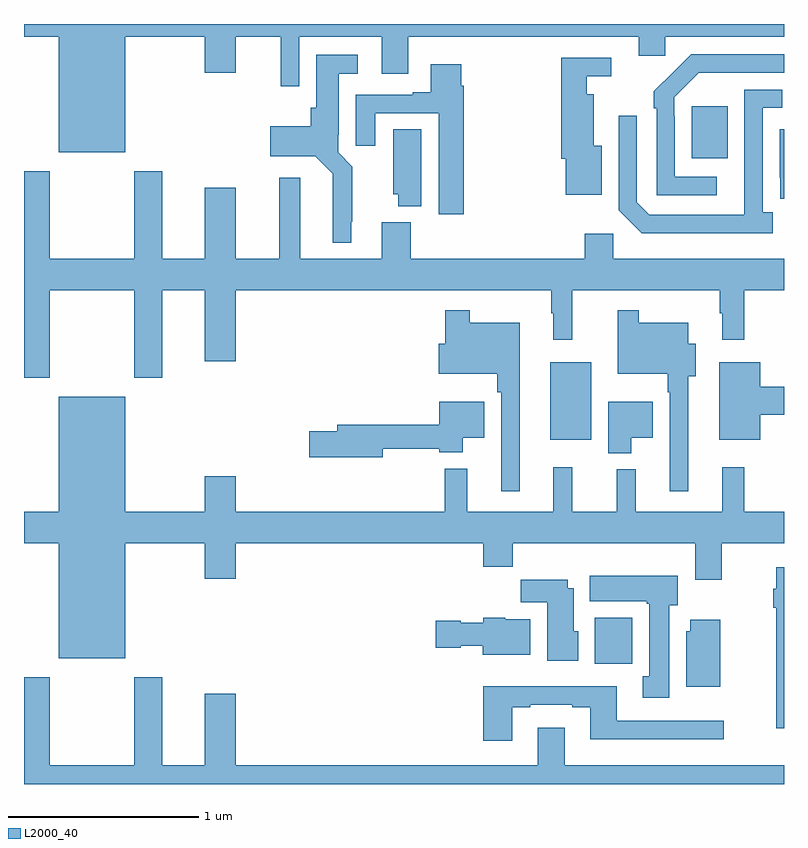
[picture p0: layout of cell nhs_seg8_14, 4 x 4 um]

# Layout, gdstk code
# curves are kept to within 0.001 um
import gdstk
lib = gdstk.Library(unit=1e-6, precision=1e-09)
def R(c, l, rs):  # rectangles x0, y0, x1, y1
    for r in rs: c.add(gdstk.rectangle(r[:2], r[2:], *l))
def P(c, l, *ps):  # polygons
    for p in ps: c.add(gdstk.Polygon(p, *l))
L2000_40 = (2000, 40)

nhs_seg8_14 = lib.new_cell('nhs_seg8_14')
R(nhs_seg8_14, L2000_40, [(114.005,1114.532,114.202,1114.774), (113.771,1115.711,113.986,1116.121), (114.515,1117.193,114.703,1117.468)])
P(nhs_seg8_14, L2000_40, [(111.532,1117.832),(111.95,1117.832),(111.95,1117.644),(112.114,1117.644),(112.114,1117.832),(112.351,1117.832),(112.351,1117.572),(112.449,1117.572),(112.449,1117.832),(112.883,1117.832),(112.883,1117.638),(113.023,1117.638),(113.023,1117.832),(114.236,1117.832),(114.236,1117.734),(114.375,1117.734),(114.375,1117.832),(115,1117.832),(115,1117.9),(111,1117.9),(111,1117.832),(111.182,1117.832),(111.182,1117.226),(111.532,1117.226)],
  [(114.646,1117.095),(114.426,1117.095),(114.426,1117.415),(114.423,1117.415),(114.423,1117.515),(114.552,1117.644),(115,1117.644),(115,1117.74),(114.512,1117.74),(114.315,1117.545),(114.315,1117.457),(114.33,1117.457),(114.33,1116.999),(114.646,1116.999)],
  [(112.723,1116.859),(112.727,1116.859),(112.727,1117.15),(112.653,1117.224),(112.653,1117.318),(112.657,1117.318),(112.657,1117.637),(112.756,1117.637),(112.756,1117.738),(112.538,1117.738),(112.538,1117.458),(112.508,1117.458),(112.508,1117.363),(112.296,1117.363),(112.296,1117.205),(112.533,1117.205),(112.626,1117.112),(112.625,1116.749),(112.723,1116.749)],
  [(114.04,1117.258),(113.998,1117.258),(113.998,1117.531),(113.962,1117.531),(113.962,1117.626),(114.091,1117.626),(114.091,1117.722),(113.828,1117.722),(113.828,1117.191),(113.852,1117.191),(113.852,1117.001),(114.04,1117.001)],
  [(113.315,1117.574),(113.302,1117.574),(113.302,1117.687),(113.141,1117.687),(113.141,1117.54),(113.045,1117.54),(113.045,1117.527),(112.745,1117.527),(112.745,1117.26),(112.849,1117.26),(112.849,1117.431),(113.183,1117.431),(113.183,1116.9),(113.315,1116.9)],
  [(114.94,1116.91),(114.888,1116.91),(114.888,1117.458),(114.991,1117.458),(114.991,1117.554),(114.792,1117.554),(114.791,1116.897),(114.291,1116.897),(114.225,1116.963),(114.225,1117.417),(114.129,1117.417),(114.129,1116.921),(114.25,1116.8),(114.94,1116.8)],
  [(113.092,1117.346),(112.943,1117.346),(112.943,1117.005),(112.97,1117.005),(112.97,1116.941),(113.092,1116.941)],
  [(115,1117.345),(114.978,1117.345),(114.978,1117.09),(114.979,1117.09),(114.979,1116.981),(115,1116.981)],
  [(111.135,1116.5),(111.58,1116.5),(111.58,1116.039),(111.727,1116.039),(111.727,1116.5),(111.95,1116.5),(111.95,1116.126),(112.114,1116.126),(112.114,1116.5),(113.775,1116.5),(113.775,1116.377),(113.786,1116.377),(113.786,1116.237),(113.886,1116.237),(113.886,1116.5),(114.663,1116.5),(114.663,1116.377),(114.674,1116.377),(114.674,1116.237),(114.791,1116.237),(114.791,1116.5),(115,1116.5),(115,1116.664),(114.102,1116.664),(114.102,1116.796),(113.951,1116.796),(113.951,1116.664),(113.036,1116.664),(113.036,1116.856),(112.883,1116.856),(112.883,1116.664),(112.453,1116.664),(112.453,1117.09),(112.343,1117.09),(112.343,1116.664),(112.114,1116.664),(112.114,1117.039),(111.95,1117.039),(111.95,1116.664),(111.727,1116.664),(111.727,1117.126),(111.58,1117.126),(111.58,1116.664),(111.135,1116.664),(111.135,1117.126),(111,1117.126),(111,1116.039),(111.135,1116.039)],
  [(113.608,1116.328),(113.347,1116.328),(113.347,1116.394),(113.218,1116.394),(113.218,1116.217),(113.184,1116.217),(113.184,1116.059),(113.491,1116.059),(113.491,1115.963),(113.511,1115.963),(113.511,1115.442),(113.608,1115.442)],
  [(114.496,1116.047),(114.535,1116.047),(114.535,1116.217),(114.496,1116.217),(114.496,1116.328),(114.235,1116.328),(114.235,1116.394),(114.126,1116.394),(114.126,1116.059),(114.387,1116.059),(114.387,1115.963),(114.399,1115.963),(114.399,1115.442),(114.496,1115.442)],
  [(114.874,1115.843),(115,1115.843),(115,1115.99),(114.874,1115.99),(114.874,1116.121),(114.659,1116.121),(114.659,1115.711),(114.874,1115.711)],
  [(111.532,1115.168),(111.95,1115.168),(111.95,1114.98),(112.114,1114.98),(112.114,1115.168),(113.417,1115.168),(113.417,1115.044),(113.573,1115.044),(113.573,1115.168),(114.533,1115.168),(114.533,1114.974),(114.673,1114.974),(114.673,1115.168),(115,1115.168),(115,1115.332),(114.791,1115.332),(114.791,1115.566),(114.674,1115.566),(114.674,1115.332),(114.221,1115.332),(114.221,1115.557),(114.121,1115.557),(114.121,1115.332),(113.886,1115.332),(113.886,1115.566),(113.786,1115.566),(113.786,1115.332),(113.333,1115.332),(113.333,1115.56),(113.215,1115.56),(113.215,1115.332),(112.114,1115.332),(112.114,1115.521),(111.95,1115.521),(111.95,1115.332),(111.532,1115.332),(111.532,1115.938),(111.182,1115.938),(111.182,1115.332),(111,1115.332),(111,1115.168),(111.182,1115.168),(111.182,1114.562),(111.532,1114.562)],
  [(114.196,1115.723),(114.31,1115.723),(114.31,1115.911),(114.074,1115.911),(114.074,1115.642),(114.196,1115.642)],
  [(112.888,1115.664),(113.186,1115.664),(113.186,1115.645),(113.308,1115.645),(113.308,1115.723),(113.422,1115.723),(113.422,1115.911),(113.186,1115.911),(113.186,1115.792),(112.649,1115.792),(112.649,1115.756),(112.5,1115.756),(112.5,1115.621),(112.888,1115.621)],
  [(115,1115.041),(114.958,1115.041),(114.958,1114.928),(114.943,1114.928),(114.943,1114.828),(114.958,1114.828),(114.958,1114.194),(115,1114.194)],
  [(114.397,1114.842),(114.442,1114.842),(114.442,1114.996),(113.978,1114.996),(113.978,1114.862),(114.277,1114.862),(114.277,1114.849),(114.29,1114.849),(114.29,1114.466),(114.257,1114.466),(114.257,1114.353),(114.397,1114.353)],
  [(113.917,1114.704),(113.893,1114.704),(113.893,1114.93),(113.863,1114.93),(113.863,1114.975),(113.614,1114.975),(113.614,1114.856),(113.753,1114.856),(113.753,1114.55),(113.917,1114.55)],
  [(113.665,1114.768),(113.532,1114.768),(113.532,1114.774),(113.418,1114.774),(113.418,1114.75),(113.298,1114.75),(113.298,1114.758),(113.166,1114.758),(113.166,1114.616),(113.298,1114.616),(113.298,1114.628),(113.414,1114.628),(113.414,1114.58),(113.665,1114.58)],
  [(114.664,1114.765),(114.506,1114.765),(114.506,1114.704),(114.485,1114.704),(114.485,1114.412),(114.664,1114.412)],
  [(115,1114),(113.845,1114),(113.845,1114.195),(113.705,1114.195),(113.705,1114),(112.114,1114),(112.114,1114.375),(111.95,1114.375),(111.95,1114),(111.727,1114),(111.727,1114.462),(111.58,1114.462),(111.58,1114),(111.135,1114),(111.135,1114.462),(111,1114.462),(111,1113.9),(115,1113.9)],
  [(113.569,1114.305),(113.665,1114.305),(113.665,1114.317),(113.885,1114.317),(113.885,1114.305),(113.981,1114.305),(113.981,1114.136),(114.682,1114.136),(114.682,1114.233),(114.121,1114.233),(114.121,1114.414),(113.417,1114.414),(113.417,1114.128),(113.569,1114.128)])

lib.write_gds('nhs_seg8_14.gds')
